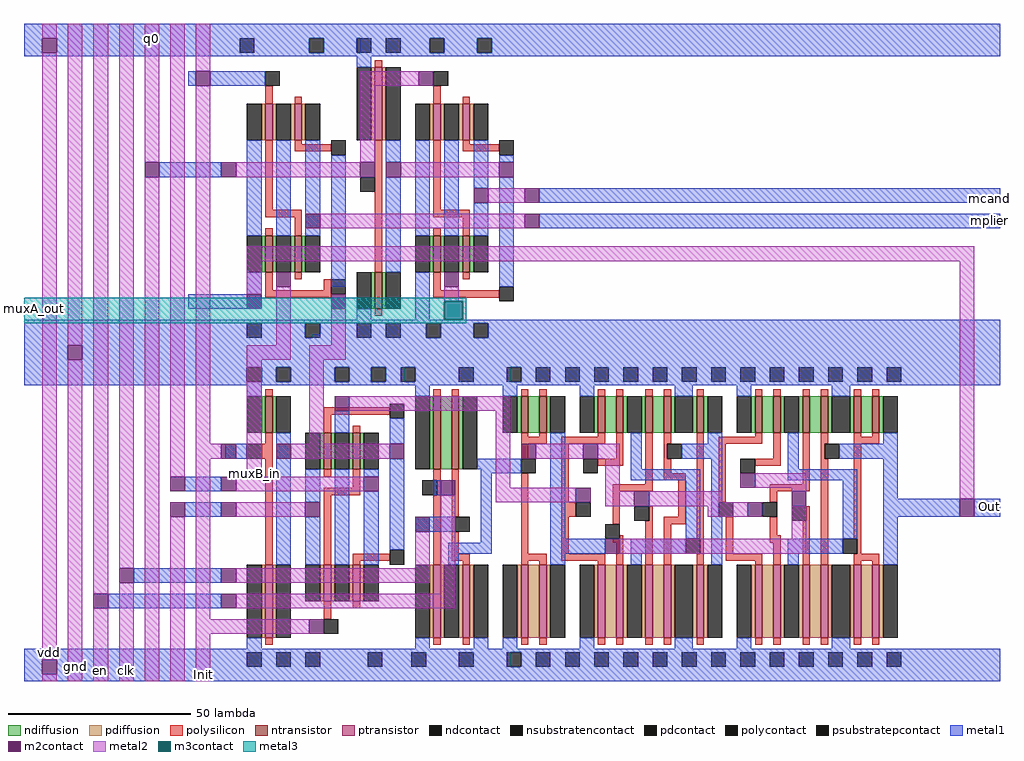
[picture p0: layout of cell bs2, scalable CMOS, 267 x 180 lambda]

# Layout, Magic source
magic
tech scmos
<< ntransistor >>
rect 66 109 68 119
rect 74 109 76 119
rect 50 99 52 109
<< ptransistor >>
rect 50 145 52 165
rect 66 145 68 155
rect 74 145 76 155
<< ndiffusion >>
rect 65 109 66 119
rect 68 109 69 119
rect 73 109 74 119
rect 76 109 77 119
rect 49 99 50 109
rect 52 99 53 109
<< pdiffusion >>
rect 49 145 50 165
rect 52 145 53 165
rect 65 145 66 155
rect 68 145 69 155
rect 73 145 74 155
rect 76 145 77 155
<< ndcontact >>
rect 61 109 65 119
rect 69 109 73 119
rect 77 109 81 119
rect 45 99 49 109
rect 53 99 57 109
<< pdcontact >>
rect 45 145 49 165
rect 53 145 57 165
rect 61 145 65 155
rect 69 145 73 155
rect 77 145 81 155
<< psubstratepcontact >>
rect 45 91 49 95
rect 53 91 57 95
rect 64 91 68 95
rect 77 91 81 95
<< nsubstratencontact >>
rect 45 169 49 173
rect 53 169 57 173
rect 65 169 69 173
rect 78 169 82 173
<< polysilicon >>
rect 50 165 52 167
rect 66 155 68 160
rect 74 155 76 157
rect 50 109 52 145
rect 66 126 68 145
rect 74 144 76 145
rect 74 142 84 144
rect 66 124 76 126
rect 66 119 68 121
rect 74 119 76 124
rect 66 104 68 109
rect 74 107 76 109
rect 66 102 84 104
rect 50 97 52 99
<< polycontact >>
rect 66 160 70 164
rect 46 131 50 135
rect 84 141 88 145
rect 84 101 88 105
<< metal1 >>
rect -46 174 221 177
rect -46 173 -1 174
rect -46 169 -41 173
rect -37 169 -1 173
rect -46 168 -1 169
rect 41 173 221 174
rect 41 169 45 173
rect 49 169 53 173
rect 57 169 65 173
rect 69 169 78 173
rect 82 169 221 173
rect 41 168 221 169
rect 45 165 49 168
rect 53 139 57 145
rect -9 135 8 139
rect 23 128 27 132
rect 53 109 57 135
rect 61 119 65 145
rect 45 96 49 99
rect 61 96 65 109
rect 69 119 73 145
rect 77 132 81 145
rect 77 119 81 128
rect 84 139 88 141
rect 84 105 88 135
rect 95 128 221 132
rect 95 121 221 125
rect -46 89 -1 96
rect 44 95 221 96
rect 44 91 45 95
rect 49 91 53 95
rect 57 91 64 95
rect 68 91 77 95
rect 81 91 221 95
rect 52 89 221 91
rect -46 85 -34 89
rect -30 85 -1 89
rect -46 78 -1 85
rect 64 83 221 89
rect 64 78 87 83
rect 93 78 221 83
rect 86 54 87 58
rect -2 49 -1 53
rect 66 48 68 52
rect -2 42 -1 46
rect 193 42 210 47
rect 214 42 221 47
rect 67 38 71 42
rect -16 24 8 28
rect -23 17 8 21
rect -46 3 87 6
rect -46 -1 -41 3
rect -37 1 87 3
rect 93 1 221 6
rect -37 -1 221 1
rect -46 -3 221 -1
<< m2contact >>
rect -41 169 -37 173
rect 62 160 66 164
rect -13 135 -9 139
rect 8 135 12 139
rect 46 135 50 139
rect 53 135 57 139
rect 31 121 35 125
rect 23 105 27 109
rect 15 99 19 103
rect 77 128 81 132
rect 84 135 88 139
rect 69 105 73 109
rect 91 128 95 132
rect 91 121 95 125
rect -34 85 -30 89
rect -6 49 -2 53
rect 68 48 72 52
rect -6 42 -2 46
rect 210 42 214 47
rect 61 38 65 42
rect -20 24 -16 28
rect 8 24 12 28
rect -27 17 -23 21
rect 8 17 12 21
rect -41 -1 -37 3
<< metal2 >>
rect -41 173 -37 177
rect -41 3 -37 169
rect -41 -3 -37 -1
rect -34 89 -30 177
rect -34 -3 -30 85
rect -27 21 -23 177
rect -27 -3 -23 17
rect -20 28 -16 177
rect -20 -3 -16 24
rect -13 139 -9 177
rect -13 -3 -9 135
rect -6 53 -2 177
rect 1 164 5 177
rect 46 160 62 164
rect 46 139 50 160
rect 12 135 46 139
rect 57 135 84 139
rect 81 128 91 132
rect 35 121 91 125
rect 15 112 214 116
rect 15 103 19 112
rect 23 89 27 105
rect 69 101 73 105
rect 15 85 27 89
rect 15 52 19 85
rect 58 71 87 75
rect -6 -3 -2 42
rect 12 24 56 28
rect 61 24 65 38
rect 68 21 72 48
rect 210 47 214 112
rect 12 17 56 21
rect 62 17 72 21
rect 1 -3 5 10
<< m3contact >>
rect 69 96 74 101
<< metal3 >>
rect -46 101 75 102
rect -46 96 69 101
rect 74 96 75 101
rect -46 95 75 96
use bc1a  bc1a_0
transform 1 0 0 0 1 12
box -1 -12 64 162
use nand  nand_0
transform 1 0 59 0 -1 81
box -4 -3 28 81
use dffpos  dffpos_0
transform 1 0 57 0 1 0
box 18 0 139 84
<< labels >>
rlabel metal1 218 45 218 45 7 Out
rlabel metal2 17 54 17 54 1 muxB_in
rlabel metal2 -11 173 -11 173 5 q0
rlabel metal2 -39 5 -39 5 1 vdd
rlabel metal2 -32 1 -32 1 1 gnd
rlabel metal2 -25 0 -25 0 1 en
rlabel metal2 -18 0 -18 0 1 clk
rlabel metal2 3 -1 3 -1 1 Init
rlabel metal3 -43 99 -43 99 3 muxA_out
rlabel metal1 218 123 218 123 7 mplier
rlabel metal1 218 129 218 129 7 mcand
rlabel metal2 -4 -1 -4 -1 1 muxA_in
rlabel metal2 -4 172 -4 172 5 muxB_out
<< end >>

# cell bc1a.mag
magic
tech scmos
<< ntransistor >>
rect 36 43 38 53
rect 44 43 46 53
<< ptransistor >>
rect 36 7 38 17
rect 44 7 46 17
<< ndiffusion >>
rect 35 43 36 53
rect 38 43 39 53
rect 43 43 44 53
rect 46 43 47 53
<< pdiffusion >>
rect 35 7 36 17
rect 38 7 39 17
rect 43 7 44 17
rect 46 7 47 17
<< ndcontact >>
rect 31 43 35 53
rect 39 43 43 53
rect 47 43 51 53
<< pdcontact >>
rect 31 7 35 17
rect 39 7 43 17
rect 47 7 51 17
<< psubstratepcontact >>
rect 39 67 43 71
rect 49 67 53 71
<< nsubstratencontact >>
rect 31 -11 35 -7
rect 48 -11 52 -7
<< polysilicon >>
rect 36 58 54 60
rect 36 53 38 58
rect 44 53 46 55
rect 36 41 38 43
rect 44 38 46 43
rect 36 36 46 38
rect 36 17 38 36
rect 44 18 54 20
rect 44 17 46 18
rect 36 2 38 7
rect 44 5 46 7
<< polycontact >>
rect 54 57 58 61
rect 54 17 58 21
rect 36 -2 40 2
<< metal1 >>
rect -1 156 30 162
rect 46 156 61 162
rect -1 148 1 152
rect 5 148 20 152
rect 23 118 27 122
rect 38 93 42 97
rect -1 87 12 91
rect -1 83 30 84
rect -1 79 28 83
rect 42 80 61 84
rect -1 78 30 79
rect 33 78 64 80
rect -1 72 64 78
rect -1 71 58 72
rect -1 66 9 71
rect 30 67 39 71
rect 43 67 49 71
rect 53 67 58 71
rect 30 66 58 67
rect 39 53 43 59
rect -1 37 8 41
rect 31 34 35 43
rect -1 30 8 34
rect 23 26 27 30
rect 31 17 35 30
rect 39 17 43 43
rect 47 41 51 43
rect 47 17 51 37
rect 54 50 58 57
rect 54 21 58 46
rect -1 -12 9 -6
rect 30 -7 58 -6
rect 30 -11 31 -7
rect 35 -11 48 -7
rect 52 -11 64 -7
rect 30 -12 64 -11
<< m2contact >>
rect 1 148 5 152
rect 38 87 42 91
rect 39 59 43 63
rect 8 46 12 50
rect 23 46 27 50
rect 8 37 12 41
rect 8 30 12 34
rect 31 30 35 34
rect 47 37 51 41
rect 54 46 58 50
rect 32 -2 36 2
<< metal2 >>
rect 1 50 5 148
rect 38 77 42 87
rect 32 73 42 77
rect 32 50 36 73
rect 43 59 58 63
rect 1 46 8 50
rect 27 46 54 50
rect 1 2 5 46
rect 12 37 47 41
rect 12 30 31 34
rect 30 12 62 16
rect 30 5 62 9
rect 1 -2 32 2
use mux21  mux21_0
transform 1 0 38 0 1 115
box -30 -37 4 47
use inverter  inverter_1
transform 1 0 13 0 -1 71
box -4 -1 20 83
<< labels >>
rlabel metal2 14 32 14 32 3 a_in
rlabel metal2 14 39 14 39 3 b_in
rlabel metal1 8 75 8 75 3 gnd
rlabel metal1 7 89 7 89 3 reg_in
<< end >>

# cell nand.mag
magic
tech scmos
<< ntransistor >>
rect 7 6 9 26
rect 12 6 14 26
<< ptransistor >>
rect 7 52 9 72
rect 15 52 17 72
<< ndiffusion >>
rect 6 6 7 26
rect 9 6 12 26
rect 14 6 15 26
<< pdiffusion >>
rect 6 52 7 72
rect 9 52 10 72
rect 14 52 15 72
rect 17 52 18 72
<< ndcontact >>
rect 2 6 6 26
rect 15 6 19 26
<< pdcontact >>
rect 2 52 6 72
rect 10 52 14 72
rect 18 52 22 72
<< psubstratepcontact >>
rect -2 -2 2 2
rect 14 -2 18 2
<< nsubstratencontact >>
rect 1 76 5 80
rect 14 76 18 80
<< polysilicon >>
rect 7 72 9 74
rect 15 72 17 74
rect 7 33 9 52
rect 15 51 17 52
rect 8 29 9 33
rect 7 26 9 29
rect 12 49 17 51
rect 12 43 14 49
rect 12 39 13 43
rect 12 26 14 39
rect 7 4 9 6
rect 12 4 14 6
<< polycontact >>
rect 4 29 8 33
rect 13 39 17 43
<< metal1 >>
rect -4 80 28 81
rect -4 76 1 80
rect 5 76 14 80
rect 18 76 28 80
rect -4 75 28 76
rect 2 72 6 75
rect 18 72 22 75
rect 11 49 14 52
rect 11 46 23 49
rect 2 39 13 43
rect 20 26 23 46
rect 19 23 23 26
rect 2 3 6 6
rect -4 2 28 3
rect -4 -2 -2 2
rect 2 -2 14 2
rect 18 -2 28 2
rect -4 -3 28 -2
<< labels >>
rlabel metal1 10 0 10 0 8 gnd
rlabel metal1 10 78 10 78 6 vdd
rlabel polysilicon 8 28 8 28 1 A
rlabel polysilicon 13 28 13 28 1 B
<< end >>

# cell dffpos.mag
magic
tech scmos
<< ntransistor >>
rect 33 65 35 75
rect 38 65 40 75
rect 54 65 56 75
rect 59 65 61 75
rect 67 65 69 75
rect 72 65 74 75
rect 81 65 83 75
rect 97 65 99 75
rect 102 65 104 75
rect 110 65 112 75
rect 115 65 117 75
rect 124 65 126 75
rect 129 65 131 75
<< ptransistor >>
rect 33 9 35 29
rect 38 9 40 29
rect 54 9 56 29
rect 59 9 61 29
rect 67 9 69 29
rect 72 9 74 29
rect 81 9 83 29
rect 97 9 99 29
rect 102 9 104 29
rect 110 9 112 29
rect 115 9 117 29
rect 124 9 126 29
rect 129 9 131 29
<< ndiffusion >>
rect 32 65 33 75
rect 35 65 38 75
rect 40 65 41 75
rect 53 65 54 75
rect 56 65 59 75
rect 61 65 62 75
rect 66 65 67 75
rect 69 65 72 75
rect 74 65 75 75
rect 80 65 81 75
rect 83 65 84 75
rect 96 65 97 75
rect 99 65 102 75
rect 104 65 105 75
rect 109 65 110 75
rect 112 65 115 75
rect 117 65 118 75
rect 123 65 124 75
rect 126 65 129 75
rect 131 65 132 75
<< pdiffusion >>
rect 32 9 33 29
rect 35 9 38 29
rect 40 9 41 29
rect 53 9 54 29
rect 56 9 59 29
rect 61 9 62 29
rect 66 9 67 29
rect 69 9 72 29
rect 74 9 75 29
rect 80 9 81 29
rect 83 9 84 29
rect 96 9 97 29
rect 99 9 102 29
rect 104 9 105 29
rect 109 9 110 29
rect 112 9 115 29
rect 117 9 118 29
rect 123 9 124 29
rect 126 9 129 29
rect 131 9 132 29
<< ndcontact >>
rect 28 65 32 75
rect 41 65 45 75
rect 49 65 53 75
rect 62 65 66 75
rect 75 65 80 75
rect 84 65 88 75
rect 92 65 96 75
rect 105 65 109 75
rect 118 65 123 75
rect 132 65 136 75
<< pdcontact >>
rect 28 9 32 29
rect 41 9 45 29
rect 49 9 53 29
rect 62 9 66 29
rect 75 9 80 29
rect 84 9 88 29
rect 92 9 96 29
rect 105 9 109 29
rect 118 9 123 29
rect 132 9 136 29
<< psubstratepcontact >>
rect 29 79 33 83
rect 37 79 41 83
rect 45 79 49 83
rect 53 79 57 83
rect 61 79 65 83
rect 69 79 73 83
rect 77 79 81 83
rect 85 79 89 83
rect 93 79 97 83
rect 101 79 105 83
rect 109 79 113 83
rect 117 79 121 83
rect 125 79 129 83
rect 133 79 137 83
<< nsubstratencontact >>
rect 29 1 33 5
rect 37 1 41 5
rect 45 1 49 5
rect 53 1 57 5
rect 61 1 65 5
rect 69 1 73 5
rect 77 1 81 5
rect 85 1 89 5
rect 93 1 97 5
rect 101 1 105 5
rect 109 1 113 5
rect 117 1 121 5
rect 125 1 129 5
rect 133 1 137 5
<< polysilicon >>
rect 33 75 35 77
rect 38 75 40 77
rect 54 75 56 77
rect 59 75 61 77
rect 67 75 69 77
rect 72 75 74 77
rect 81 75 83 77
rect 97 75 99 77
rect 102 75 104 77
rect 110 75 112 77
rect 115 75 117 77
rect 124 75 126 77
rect 129 75 131 77
rect 33 64 35 65
rect 38 64 40 65
rect 54 64 56 65
rect 33 62 40 64
rect 44 62 56 64
rect 33 58 35 62
rect 33 32 35 54
rect 44 46 46 62
rect 59 58 61 65
rect 54 56 61 58
rect 67 51 69 65
rect 72 62 74 65
rect 72 58 73 62
rect 72 54 74 58
rect 72 52 78 54
rect 58 49 69 51
rect 44 42 48 46
rect 44 32 46 42
rect 58 40 60 49
rect 68 41 69 45
rect 76 42 78 52
rect 60 36 61 37
rect 58 35 61 36
rect 33 30 40 32
rect 44 30 56 32
rect 33 29 35 30
rect 38 29 40 30
rect 54 29 56 30
rect 59 29 61 35
rect 67 29 69 41
rect 72 40 78 42
rect 72 29 74 40
rect 81 36 83 65
rect 97 64 99 65
rect 87 62 99 64
rect 87 46 89 62
rect 102 58 104 65
rect 97 56 104 58
rect 110 51 112 65
rect 101 49 112 51
rect 115 62 117 65
rect 124 64 126 65
rect 129 64 131 65
rect 124 62 131 64
rect 115 58 116 62
rect 101 46 103 49
rect 82 32 83 36
rect 81 29 83 32
rect 89 32 91 42
rect 101 37 103 42
rect 111 41 112 45
rect 101 35 104 37
rect 89 30 99 32
rect 97 29 99 30
rect 102 29 104 35
rect 110 29 112 41
rect 115 29 117 58
rect 124 36 126 62
rect 125 32 126 36
rect 124 30 131 32
rect 124 29 126 30
rect 129 29 131 30
rect 33 7 35 9
rect 38 7 40 9
rect 54 7 56 9
rect 59 7 61 9
rect 67 7 69 9
rect 72 7 74 9
rect 81 7 83 9
rect 97 7 99 9
rect 102 7 104 9
rect 110 7 112 9
rect 115 7 117 9
rect 124 7 126 9
rect 129 7 131 9
<< polycontact >>
rect 33 54 37 58
rect 50 54 54 58
rect 73 58 77 62
rect 48 42 52 46
rect 64 41 68 45
rect 56 36 60 40
rect 93 54 97 58
rect 116 58 120 62
rect 87 42 91 46
rect 99 42 103 46
rect 78 32 82 36
rect 107 41 111 45
rect 121 32 125 36
<< metal1 >>
rect 18 83 139 84
rect 18 79 29 83
rect 33 79 37 83
rect 41 79 45 83
rect 49 79 53 83
rect 57 79 61 83
rect 65 79 69 83
rect 73 79 77 83
rect 81 79 85 83
rect 89 79 93 83
rect 97 79 101 83
rect 105 79 109 83
rect 113 79 117 83
rect 121 79 125 83
rect 129 79 133 83
rect 137 79 139 83
rect 18 78 139 79
rect 28 75 32 78
rect 49 75 53 78
rect 75 75 80 78
rect 92 75 96 78
rect 118 75 123 78
rect 22 54 33 58
rect 22 32 25 54
rect 41 36 45 65
rect 63 55 66 65
rect 84 62 88 65
rect 77 58 88 62
rect 63 52 82 55
rect 78 36 82 52
rect 41 32 56 36
rect 63 32 78 36
rect 85 46 88 58
rect 106 55 109 65
rect 132 62 136 65
rect 120 58 136 62
rect 106 52 125 55
rect 85 42 87 46
rect 41 29 45 32
rect 63 29 66 32
rect 85 29 88 42
rect 121 36 125 52
rect 106 32 121 36
rect 106 29 109 32
rect 132 29 136 58
rect 28 6 32 9
rect 49 6 53 9
rect 75 6 80 9
rect 92 6 96 9
rect 118 6 123 9
rect 18 5 139 6
rect 18 1 29 5
rect 33 1 37 5
rect 41 1 45 5
rect 49 1 53 5
rect 57 1 61 5
rect 65 1 69 5
rect 73 1 77 5
rect 81 1 85 5
rect 89 1 93 5
rect 97 1 101 5
rect 105 1 109 5
rect 113 1 117 5
rect 121 1 125 5
rect 129 1 133 5
rect 137 1 139 5
rect 18 0 139 1
<< m2contact >>
rect 33 58 37 62
rect 50 58 54 62
rect 48 46 52 50
rect 64 45 68 49
rect 56 32 60 36
rect 93 50 97 54
rect 95 42 99 46
rect 107 45 111 49
<< metal2 >>
rect 22 71 30 75
rect 26 50 30 71
rect 37 58 50 62
rect 54 58 60 62
rect 26 46 48 50
rect 56 49 60 58
rect 97 50 111 54
rect 107 49 111 50
rect 56 45 64 49
rect 68 46 88 49
rect 68 45 95 46
rect 84 42 95 45
rect 107 36 111 45
rect 60 32 111 36
<< labels >>
rlabel metal2 24 73 24 73 1 D
rlabel metal1 23 45 23 45 3 clk_b
rlabel metal1 43 45 43 45 1 clk
rlabel metal1 135 45 135 45 7 Q
<< end >>

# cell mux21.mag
magic
tech scmos
<< ntransistor >>
rect -18 -18 -16 -8
rect -10 -18 -8 -8
<< ptransistor >>
rect -18 18 -16 28
rect -10 18 -8 28
<< ndiffusion >>
rect -19 -18 -18 -8
rect -16 -18 -15 -8
rect -11 -18 -10 -8
rect -8 -18 -7 -8
<< pdiffusion >>
rect -19 18 -18 28
rect -16 18 -15 28
rect -11 18 -10 28
rect -8 18 -7 28
<< ndcontact >>
rect -23 -18 -19 -8
rect -15 -18 -11 -8
rect -7 -18 -3 -8
<< pdcontact >>
rect -23 18 -19 28
rect -15 18 -11 28
rect -7 18 -3 28
<< psubstratepcontact >>
rect -23 -36 -19 -32
rect -7 -36 -3 -32
<< nsubstratencontact >>
rect -25 42 -21 46
rect -6 42 -2 46
<< polysilicon >>
rect -18 28 -16 33
rect -10 28 -8 30
rect -18 -1 -16 18
rect -10 17 -8 18
rect -10 15 0 17
rect -18 -3 -8 -1
rect -18 -8 -16 -6
rect -10 -8 -8 -3
rect -18 -23 -16 -18
rect -10 -20 -8 -18
rect -2 -23 0 -20
rect -18 -25 0 -23
<< polycontact >>
rect -18 33 -14 37
rect 0 14 4 18
rect 0 -24 4 -20
<< metal1 >>
rect -30 46 4 47
rect -30 42 -25 46
rect -21 42 -6 46
rect -2 42 4 46
rect -30 41 4 42
rect -22 33 -18 37
rect -23 -8 -19 18
rect -15 -8 -11 18
rect -7 -8 -3 18
rect -23 -24 -19 -18
rect 0 -20 4 14
rect -30 -28 -19 -24
rect -30 -32 4 -31
rect -30 -36 -23 -32
rect -19 -36 -7 -32
rect -3 -36 4 -32
rect -30 -37 4 -36
<< labels >>
rlabel nsubstratencontact -3 43 -3 43 3 Vdd
rlabel metal1 -28 -26 -28 -26 3 In_0
rlabel metal1 -5 10 -5 11 1 in_1
rlabel metal1 -13 9 -13 9 3 Out
rlabel polycontact 2 16 2 16 0 Sel_bar
rlabel metal1 -20 35 -20 35 1 sel
<< end >>

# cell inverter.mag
magic
tech scmos
<< ntransistor >>
rect 7 8 9 18
<< ptransistor >>
rect 7 54 9 74
<< ndiffusion >>
rect 6 8 7 18
rect 9 8 10 18
<< pdiffusion >>
rect 6 54 7 74
rect 9 54 10 74
<< ndcontact >>
rect 2 8 6 18
rect 10 8 14 18
<< pdcontact >>
rect 2 54 6 74
rect 10 54 14 74
<< psubstratepcontact >>
rect 2 0 6 4
rect 10 0 14 4
<< nsubstratencontact >>
rect 2 78 6 82
rect 10 78 14 82
<< polysilicon >>
rect 7 74 9 76
rect 7 25 9 54
rect 6 21 9 25
rect 7 18 9 21
rect 7 6 9 8
<< polycontact >>
rect 2 21 6 25
<< metal1 >>
rect -4 82 20 83
rect -4 78 2 82
rect 6 78 10 82
rect 14 78 20 82
rect -4 77 20 78
rect 2 74 6 77
rect -4 21 2 25
rect 10 18 14 54
rect 2 5 6 8
rect -4 4 20 5
rect -4 0 2 4
rect 6 0 10 4
rect 14 0 20 4
rect -4 -1 20 0
<< labels >>
rlabel metal1 12 26 12 26 1 Y
rlabel metal1 -2 22 -2 22 3 A
rlabel metal1 0 80 0 80 6 vdd
rlabel metal1 0 2 0 2 8 gnd
<< end >>
